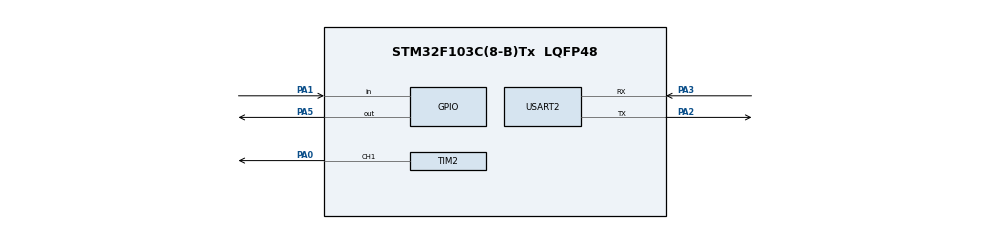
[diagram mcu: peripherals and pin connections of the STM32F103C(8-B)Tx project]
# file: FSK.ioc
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Mcu.Family=STM32F1
Mcu.Name=STM32F103C(8-B)Tx
Mcu.Package=LQFP48
NVIC.PriorityGroup=NVIC_PRIORITYGROUP_4
NVIC.USART2_IRQn=true\:0\:0\:false\:false\:true\:true\:true\:true
PA0-WKUP.Signal=S_TIM2_CH1_ETR
PA1.GPIO_PuPd=GPIO_PULLUP
PA1.Signal=GPIO_Input
PA2.Mode=Asynchronous
PA2.Signal=USART2_TX
PA3.Mode=Asynchronous
PA3.Signal=USART2_RX
PA5.Signal=GPIO_Output
ProjectManager.HeapSize=0x200
ProjectManager.StackSize=0x400
ProjectManager.TargetToolchain=MDK-ARM V5.32
RCC.APB1Freq_Value=8000000
RCC.APB2Freq_Value=8000000
SH.S_TIM2_CH1_ETR.0=TIM2_CH1,PWM Generation1 CH1
TIM2.Channel-PWM\ Generation1\ CH1=TIM_CHANNEL_1
USART2.VirtualMode=VM_ASYNC
VP_SYS_VS_ND.Mode=No_Debug
board=custom

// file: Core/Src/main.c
/* USER CODE BEGIN Header */
/**
  ******************************************************************************
  * @file           : main.c
  * @brief          : Main program body
  ******************************************************************************
  * @attention
  *
  * Copyright (c) 2025 STMicroelectronics.
  * All rights reserved.
  *
  * This software is licensed under terms that can be found in the LICENSE file
  * in the root directory of this software component.
  * If no LICENSE file comes with this software, it is provided AS-IS.
  *
  ******************************************************************************
  */
/* USER CODE END Header */
#include "main.h"

/* USER CODE BEGIN Includes */
#include "string.h"
#include <stdio.h>

/* USER CODE END Includes */

/* USER CODE BEGIN PD */
#define PREAMBLE  0xAA
#define START    0x55
#define STOP     0x0D
#define RX_BUF_SIZE 64

/* USER CODE END PD */

TIM_HandleTypeDef htim2;

UART_HandleTypeDef huart2;

/* USER CODE BEGIN PV */

// ===== Buffers =====

// ===== Button state =====

/* USER CODE END PV */

void SystemClock_Config(void);
static void MX_GPIO_Init(void);
static void MX_TIM2_Init(void);
static void MX_USART2_UART_Init(void);
/* USER CODE BEGIN PFP */

void Set_PWM_Frequency(uint32_t freq);

void Send_Bit_Unipolar_ASK(uint8_t bit, uint32_t bit_time_ms);

void Send_Byte_Unipolar_ASK(uint8_t byte, uint32_t bit_time_ms);

void Send_Text_Unipolar_ASK(char *text, uint32_t bit_time_ms);
void UART_Print_Byte_Binary(uint8_t byte)
{
    char buf[9];
    for (int i = 7; i >= 0; i--)
    {
        buf[7 - i] = ((byte >> i) & 0x01) ? '1' : '0';
    }
    buf[8] = '\0';

    HAL_UART_Transmit(&huart2, (uint8_t*)buf, 8, HAL_MAX_DELAY);
}

void UART_Print_Label_Byte(char *label, uint8_t byte)
{
    HAL_UART_Transmit(&huart2, (uint8_t*)label, strlen(label), HAL_MAX_DELAY);
    UART_Print_Byte_Binary(byte);
    HAL_UART_Transmit(&huart2, (uint8_t*)"\r\n", 2, HAL_MAX_DELAY);
}

void Send_Frame(char *text)
{
		HAL_UART_Transmit(&huart2,
                          (uint8_t*)text,
                          strlen(text),
                          HAL_MAX_DELAY);
		HAL_UART_Transmit(&huart2,
        (uint8_t*)"\r\n===== FRAME TX =====",
        23, HAL_MAX_DELAY);
		HAL_UART_Transmit(&huart2, (uint8_t*)"\r\n", 2, HAL_MAX_DELAY);
		UART_Print_Label_Byte("PREAMBLE: ", PREAMBLE);
    Send_Byte_Unipolar_ASK(PREAMBLE, 10);
		UART_Print_Label_Byte("START   : ", START);
    Send_Byte_Unipolar_ASK(START, 10);
		HAL_UART_Transmit(&huart2,
        (uint8_t*)"DATA    : ",
        11, HAL_MAX_DELAY);
    while (*text){
			UART_Print_Byte_Binary(*text);
      HAL_UART_Transmit(&huart2, (uint8_t*)" ", 1, HAL_MAX_DELAY);
			Send_Byte_Unipolar_ASK(*text++, 10);}
		HAL_UART_Transmit(&huart2, (uint8_t*)"\r\n", 2, HAL_MAX_DELAY);
    UART_Print_Label_Byte("STOP    : ", STOP);
    Send_Byte_Unipolar_ASK(STOP, 10);

    HAL_UART_Transmit(&huart2,
        (uint8_t*)"====================\r\n",
        22, HAL_MAX_DELAY);
		HAL_GPIO_WritePin(GPIOA, GPIO_PIN_5, GPIO_PIN_RESET);
    __HAL_TIM_SET_COMPARE(&htim2, TIM_CHANNEL_1, 0);
		HAL_TIM_PWM_Stop(&htim2, TIM_CHANNEL_1);
}

/* USER CODE END PFP */

/* USER CODE BEGIN 0 */

char message[RX_BUF_SIZE] = "HELLO";  // message m?c d?nh
char uart_rx_buf[RX_BUF_SIZE];
uint8_t uart_rx_idx = 0;

uint8_t uart_rx_char;
uint8_t new_message_flag = 0;

/* USER CODE END 0 */

int main(void)
{

  /* MCU Configuration--------------------------------------------------------*/

  /* Reset of all peripherals, Initializes the Flash interface and the Systick. */
  HAL_Init();

  /* Configure the system clock */
  SystemClock_Config();

  /* Initialize all configured peripherals */
  MX_GPIO_Init();
  MX_TIM2_Init();
  MX_USART2_UART_Init();

  /* USER CODE BEGIN 2 */

	Set_PWM_Frequency(1000);

	uint8_t welcome[] = "WELCOME\r\n";
	HAL_UART_Transmit(&huart2, welcome, strlen((char*)welcome), HAL_MAX_DELAY);
	HAL_UART_Transmit(&huart2,
                          (uint8_t*)message,
                          strlen(message),
                          HAL_MAX_DELAY);
	HAL_UART_Transmit(&huart2, (uint8_t*)"\r\n", 2, HAL_MAX_DELAY);

	HAL_UART_Receive_IT(&huart2, &uart_rx_char, 1);

  uint32_t period = __HAL_TIM_GET_AUTORELOAD(&htim2);
	/* USER CODE END 2 */

  /* Infinite loop */
  /* USER CODE BEGIN WHILE */
  while (1)
  {
    if (new_message_flag)
    {
        uint8_t var1[] = ">>> NEW MESSAGE RECEIVED <<<\r\n";
        HAL_UART_Transmit(&huart2, var1, strlen((char*)var1), HAL_MAX_DELAY);
        new_message_flag = 0;
				HAL_UART_Transmit(&huart2,
                          (uint8_t*)message,
                          strlen(message),
                          HAL_MAX_DELAY);
				HAL_UART_Transmit(&huart2, (uint8_t*)"\r\n", 2, HAL_MAX_DELAY);
    }

    Send_Frame(message);   // ch? g?i khi r?nh
    HAL_Delay(2000);
    /* USER CODE END WHILE */

  }
}

void SystemClock_Config(void)
{
  RCC_OscInitTypeDef RCC_OscInitStruct = {0};
  RCC_ClkInitTypeDef RCC_ClkInitStruct = {0};

  /** Initializes the RCC Oscillators according to the specified parameters
  * in the RCC_OscInitTypeDef structure.
  */
  RCC_OscInitStruct.OscillatorType = RCC_OSCILLATORTYPE_HSI;
  RCC_OscInitStruct.HSIState = RCC_HSI_ON;
  RCC_OscInitStruct.HSICalibrationValue = RCC_HSICALIBRATION_DEFAULT;
  RCC_OscInitStruct.PLL.PLLState = RCC_PLL_NONE;
  if (HAL_RCC_OscConfig(&RCC_OscInitStruct) != HAL_OK)
  {
    Error_Handler();
  }

  /** Initializes the CPU, AHB and APB buses clocks
  */
  RCC_ClkInitStruct.ClockType = RCC_CLOCKTYPE_HCLK|RCC_CLOCKTYPE_SYSCLK
                              |RCC_CLOCKTYPE_PCLK1|RCC_CLOCKTYPE_PCLK2;
  RCC_ClkInitStruct.SYSCLKSource = RCC_SYSCLKSOURCE_HSI;
  RCC_ClkInitStruct.AHBCLKDivider = RCC_SYSCLK_DIV1;
  RCC_ClkInitStruct.APB1CLKDivider = RCC_HCLK_DIV1;
  RCC_ClkInitStruct.APB2CLKDivider = RCC_HCLK_DIV1;

  if (HAL_RCC_ClockConfig(&RCC_ClkInitStruct, FLASH_LATENCY_0) != HAL_OK)
  {
    Error_Handler();
  }
}

static void MX_TIM2_Init(void)
{

  TIM_MasterConfigTypeDef sMasterConfig = {0};
  TIM_OC_InitTypeDef sConfigOC = {0};

  htim2.Instance = TIM2;
  htim2.Init.Prescaler = 0;
  htim2.Init.CounterMode = TIM_COUNTERMODE_UP;
  htim2.Init.Period = 65535;
  htim2.Init.ClockDivision = TIM_CLOCKDIVISION_DIV1;
  htim2.Init.AutoReloadPreload = TIM_AUTORELOAD_PRELOAD_DISABLE;
  if (HAL_TIM_PWM_Init(&htim2) != HAL_OK)
  {
    Error_Handler();
  }
  sMasterConfig.MasterOutputTrigger = TIM_TRGO_RESET;
  sMasterConfig.MasterSlaveMode = TIM_MASTERSLAVEMODE_DISABLE;
  if (HAL_TIMEx_MasterConfigSynchronization(&htim2, &sMasterConfig) != HAL_OK)
  {
    Error_Handler();
  }
  sConfigOC.OCMode = TIM_OCMODE_PWM1;
  sConfigOC.Pulse = 0;
  sConfigOC.OCPolarity = TIM_OCPOLARITY_HIGH;
  sConfigOC.OCFastMode = TIM_OCFAST_DISABLE;
  if (HAL_TIM_PWM_ConfigChannel(&htim2, &sConfigOC, TIM_CHANNEL_1) != HAL_OK)
  {
    Error_Handler();
  }
  HAL_TIM_MspPostInit(&htim2);

}

static void MX_USART2_UART_Init(void)
{

  huart2.Instance = USART2;
  huart2.Init.BaudRate = 115200;
  huart2.Init.WordLength = UART_WORDLENGTH_8B;
  huart2.Init.StopBits = UART_STOPBITS_1;
  huart2.Init.Parity = UART_PARITY_NONE;
  huart2.Init.Mode = UART_MODE_TX_RX;
  huart2.Init.HwFlowCtl = UART_HWCONTROL_NONE;
  huart2.Init.OverSampling = UART_OVERSAMPLING_16;
  if (HAL_UART_Init(&huart2) != HAL_OK)
  {
    Error_Handler();
  }

}

static void MX_GPIO_Init(void)
{
  GPIO_InitTypeDef GPIO_InitStruct = {0};

  /* GPIO Ports Clock Enable */
  __HAL_RCC_GPIOA_CLK_ENABLE();

  /*Configure GPIO pin Output Level */
  HAL_GPIO_WritePin(GPIOA, GPIO_PIN_5, GPIO_PIN_RESET);

  /*Configure GPIO pin : PA1 */
  GPIO_InitStruct.Pin = GPIO_PIN_1;
  GPIO_InitStruct.Mode = GPIO_MODE_INPUT;
  GPIO_InitStruct.Pull = GPIO_PULLUP;
  HAL_GPIO_Init(GPIOA, &GPIO_InitStruct);

  /*Configure GPIO pin : PA5 */
  GPIO_InitStruct.Pin = GPIO_PIN_5;
  GPIO_InitStruct.Mode = GPIO_MODE_OUTPUT_PP;
  GPIO_InitStruct.Pull = GPIO_NOPULL;
  GPIO_InitStruct.Speed = GPIO_SPEED_FREQ_LOW;
  HAL_GPIO_Init(GPIOA, &GPIO_InitStruct);

}

/* USER CODE BEGIN 4 */
void HAL_UART_RxCpltCallback(UART_HandleTypeDef *huart)
{
    if (huart->Instance == USART2)
    {
        if (uart_rx_char == '.')
        {
            uart_rx_buf[uart_rx_idx] = '\0';

            if (uart_rx_idx > 0)
            {
                strcpy(message, uart_rx_buf);   // c?p nh?t message
                new_message_flag = 1;
            }

            uart_rx_idx = 0;
        }
        else
        {
            if (uart_rx_idx < RX_BUF_SIZE - 1)
            {
                uart_rx_buf[uart_rx_idx++] = uart_rx_char;
            }
        }

        HAL_UART_Receive_IT(&huart2, &uart_rx_char, 1);
    }
}

int _write(int file, char *ptr, int len)
{
    HAL_UART_Transmit(&huart2, (uint8_t *)ptr, len, HAL_MAX_DELAY);
    return len;
}
void Set_PWM_Frequency(uint32_t freq)
{
    uint32_t timer_clk = HAL_RCC_GetPCLK1Freq() * 2;  // Clock v?o TIM2 (APB1 thu?ng nh?n 2)
    uint32_t prescaler = 0;
    uint32_t period = timer_clk / freq - 1;

    __HAL_TIM_SET_PRESCALER(&htim2, prescaler);
    __HAL_TIM_SET_AUTORELOAD(&htim2, period);
    __HAL_TIM_SET_COMPARE(&htim2, TIM_CHANNEL_1, 0); // 50%
    HAL_TIM_GenerateEvent(&htim2, TIM_EVENTSOURCE_UPDATE);
}

void Send_Bit_Unipolar_ASK(uint8_t bit, uint32_t bit_time_ms)
{
    uint32_t period = __HAL_TIM_GET_AUTORELOAD(&htim2);

    if (bit)
    {
        // Unipolar
        HAL_GPIO_WritePin(GPIOA, GPIO_PIN_5, GPIO_PIN_SET);
        // ASK
				HAL_TIM_PWM_Start(&htim2, TIM_CHANNEL_1);
        __HAL_TIM_SET_COMPARE(&htim2, TIM_CHANNEL_1, period / 2);
    }
    else
    {
        HAL_GPIO_WritePin(GPIOA, GPIO_PIN_5, GPIO_PIN_RESET);
        __HAL_TIM_SET_COMPARE(&htim2, TIM_CHANNEL_1, 0);
				HAL_TIM_PWM_Stop(&htim2, TIM_CHANNEL_1);
    }

    HAL_Delay(bit_time_ms);
}

void Send_Byte_Unipolar_ASK(uint8_t byte, uint32_t bit_time_ms)
{
    for (int i = 7; i >= 0; i--)   // MSB tru?c
    {
        uint8_t bit = (byte >> i) & 0x01;
        Send_Bit_Unipolar_ASK(bit, bit_time_ms);
    }
}

/* USER CODE END 4 */

void Error_Handler(void)
{
  __disable_irq();
  while (1)
  {
  }
}
